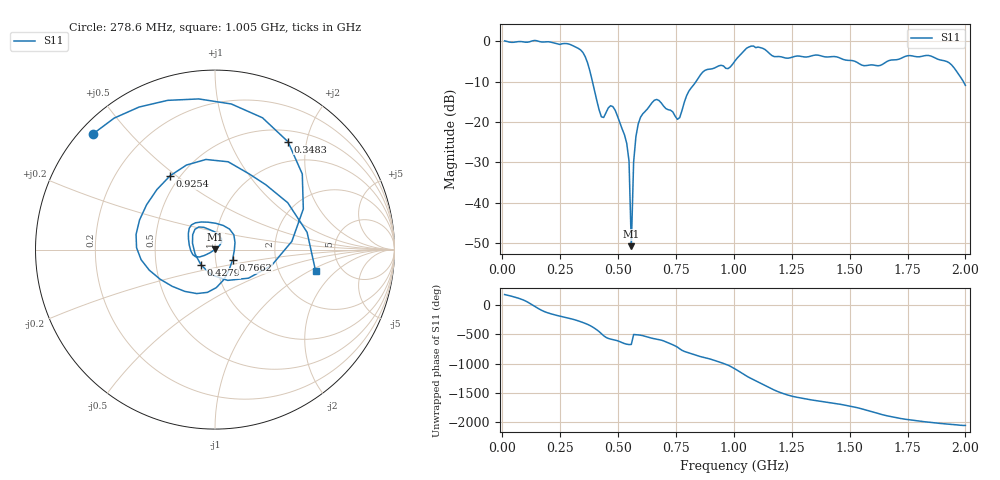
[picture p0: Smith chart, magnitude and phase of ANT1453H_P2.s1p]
!Created with skrf (http://scikit-rf.org).
# Hz S RI R 50.0
!freq ReS11 ImS11
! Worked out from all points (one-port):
!   201 points, 10 MHz to 2 GHz, reference 50 ohm
!   lowest |S11| = -50.8 dB at 557.2 MHz (marker M1), VSWR 1.01, Z = 50.2 + j0.201 ohm
!   |S11| at or under -10 dB: 389.3 MHz to 836.5 MHz (447.2 MHz wide, 73 % of centre); 1.991425 GHz to end of sweep
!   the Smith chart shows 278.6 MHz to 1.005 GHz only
!   S11 on the Smith chart (normalised r, x): 278.6 MHz: 0.04, +0.40; 348.3 MHz: 0.66, +1.68; 427.9 MHz: 0.84, -0.15; 766.2 MHz: 1.21, -0.14; 925.4 MHz: 0.44, +0.47; 1.005 GHz: 3.24, -1.13
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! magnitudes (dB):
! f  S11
! 10 MHz  0.1
! 258.8 MHz  -0.6
! 278.6 MHz  -0.6
! 348.3 MHz  -2.8
! 368.2 MHz  -5.3
! 427.9 MHz  -18.7
! 467.7 MHz  -16.0
! 507.5 MHz  -20.1
! 537.4 MHz  -25.3
! 547.3 MHz  -29.7
! 557.2 MHz  -50.8
! 567.2 MHz  -29.9
! 577.1 MHz  -23.6
! 597 MHz  -18.8
! 666.7 MHz  -14.4
! 756.2 MHz  -19.3
! 766.2 MHz  -18.9
! 796 MHz  -13.5
! 855.8 MHz  -8.3
! 925.4 MHz  -6.4
! 1.005 GHz  -4.8
! 1.075 GHz  -1.2
! 1.254 GHz  -3.9
! 1.502 GHz  -4.7
! 1.622 GHz  -6.1
! 1.751 GHz  -3.6
! 1.92 GHz  -5.0
! 2 GHz  -10.9
